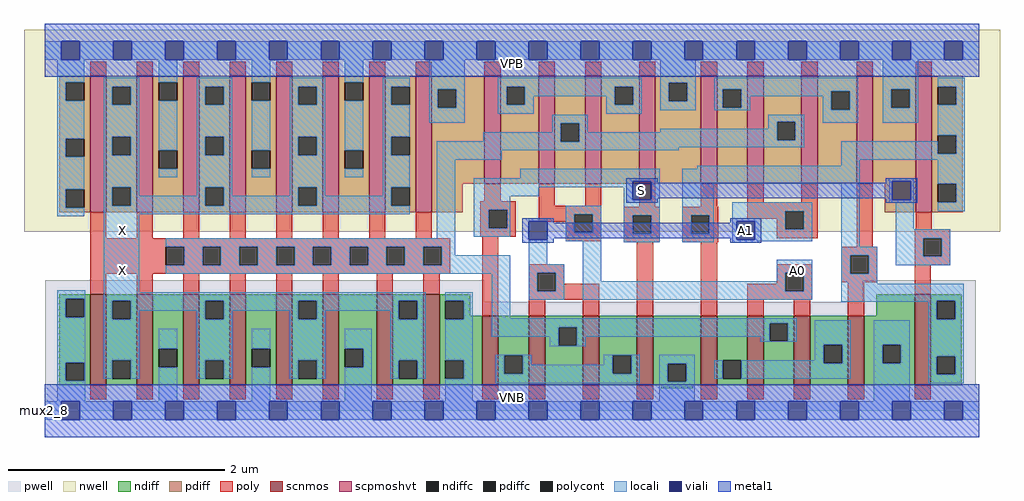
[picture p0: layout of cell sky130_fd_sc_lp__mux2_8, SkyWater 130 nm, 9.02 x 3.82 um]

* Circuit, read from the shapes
.subckt sky130_fd_sc_lp__mux2_8 A0 A1 S VGND VNB VPB VPWR X
XM1 X n1 VGND VNB sky130_fd_pr__nfet_01v8 w=0.84 l=0.15 m=8
XM2 n2 S VGND VNB sky130_fd_pr__nfet_01v8 w=0.64 l=0.15 m=2
XM3 n1 A1 n2 VNB sky130_fd_pr__nfet_01v8 w=0.64 l=0.15 m=2
XM4 n3 n4 VGND VNB sky130_fd_pr__nfet_01v8 w=0.64 l=0.15 m=2
XM5 n1 A0 n3 VNB sky130_fd_pr__nfet_01v8 w=0.64 l=0.15 m=2
XM6 n4 S VGND VNB sky130_fd_pr__nfet_01v8 w=0.84 l=0.15
XM7 X n1 VPWR VPB sky130_fd_pr__pfet_01v8_hvt w=1.26 l=0.15 m=8
XM8 n5 S VPWR VPB sky130_fd_pr__pfet_01v8_hvt w=1 l=0.15 m=2
XM9 n1 A0 n5 VPB sky130_fd_pr__pfet_01v8_hvt w=1 l=0.15 m=2
XM10 n6 n4 VPWR VPB sky130_fd_pr__pfet_01v8_hvt w=1 l=0.15 m=2
XM11 n1 A1 n6 VPB sky130_fd_pr__pfet_01v8_hvt w=1 l=0.15 m=2
XM12 n4 S VPWR VPB sky130_fd_pr__pfet_01v8_hvt w=1.26 l=0.15
.ends

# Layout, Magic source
magic
tech sky130A
magscale 1 2
<< nwell >>
rect -38 331 1766 704
<< pwell >>
rect 1 201 813 241
rect 1511 201 1721 241
rect 1 49 1721 201
rect 0 0 1728 49
<< scnmos >>
rect 84 47 114 215
rect 170 47 200 215
rect 256 47 286 215
rect 342 47 372 215
rect 428 47 458 215
rect 514 47 544 215
rect 614 47 644 215
rect 700 47 730 215
rect 809 47 839 175
rect 895 47 925 175
rect 995 47 1025 175
rect 1095 47 1125 175
rect 1213 47 1243 175
rect 1299 47 1329 175
rect 1385 47 1415 175
rect 1485 47 1515 175
rect 1608 47 1638 215
<< scpmoshvt >>
rect 84 367 114 619
rect 170 367 200 619
rect 256 367 286 619
rect 342 367 372 619
rect 428 367 458 619
rect 514 367 544 619
rect 600 367 630 619
rect 686 367 716 619
rect 813 419 843 619
rect 913 419 943 619
rect 999 419 1029 619
rect 1099 419 1129 619
rect 1213 419 1243 619
rect 1299 419 1329 619
rect 1399 419 1429 619
rect 1501 419 1531 619
rect 1610 367 1640 619
<< ndiff >>
rect 27 207 84 215
rect 27 173 39 207
rect 73 173 84 207
rect 27 89 84 173
rect 27 55 39 89
rect 73 55 84 89
rect 27 47 84 55
rect 114 203 170 215
rect 114 169 125 203
rect 159 169 170 203
rect 114 93 170 169
rect 114 59 125 93
rect 159 59 170 93
rect 114 47 170 59
rect 200 114 256 215
rect 200 80 211 114
rect 245 80 256 114
rect 200 47 256 80
rect 286 203 342 215
rect 286 169 297 203
rect 331 169 342 203
rect 286 93 342 169
rect 286 59 297 93
rect 331 59 342 93
rect 286 47 342 59
rect 372 114 428 215
rect 372 80 383 114
rect 417 80 428 114
rect 372 47 428 80
rect 458 203 514 215
rect 458 169 469 203
rect 503 169 514 203
rect 458 93 514 169
rect 458 59 469 93
rect 503 59 514 93
rect 458 47 514 59
rect 544 114 614 215
rect 544 80 555 114
rect 589 80 614 114
rect 544 47 614 80
rect 644 203 700 215
rect 644 169 655 203
rect 689 169 700 203
rect 644 93 700 169
rect 644 59 655 93
rect 689 59 700 93
rect 644 47 700 59
rect 730 203 787 215
rect 730 169 741 203
rect 775 175 787 203
rect 1537 175 1608 215
rect 775 169 809 175
rect 730 93 809 169
rect 730 59 741 93
rect 775 59 809 93
rect 730 47 809 59
rect 839 102 895 175
rect 839 68 850 102
rect 884 68 895 102
rect 839 47 895 68
rect 925 154 995 175
rect 925 120 950 154
rect 984 120 995 154
rect 925 47 995 120
rect 1025 102 1095 175
rect 1025 68 1050 102
rect 1084 68 1095 102
rect 1025 47 1095 68
rect 1125 87 1213 175
rect 1125 53 1152 87
rect 1186 53 1213 87
rect 1125 47 1213 53
rect 1243 93 1299 175
rect 1243 59 1254 93
rect 1288 59 1299 93
rect 1243 47 1299 59
rect 1329 162 1385 175
rect 1329 128 1340 162
rect 1374 128 1385 162
rect 1329 47 1385 128
rect 1415 122 1485 175
rect 1415 88 1440 122
rect 1474 88 1485 122
rect 1415 47 1485 88
rect 1515 122 1608 175
rect 1515 88 1549 122
rect 1583 88 1608 122
rect 1515 47 1608 88
rect 1638 203 1695 215
rect 1638 169 1649 203
rect 1683 169 1695 203
rect 1638 101 1695 169
rect 1638 67 1649 101
rect 1683 67 1695 101
rect 1638 47 1695 67
rect 1140 41 1198 47
<< pdiff >>
rect 27 607 84 619
rect 27 573 39 607
rect 73 573 84 607
rect 27 503 84 573
rect 27 469 39 503
rect 73 469 84 503
rect 27 409 84 469
rect 27 375 39 409
rect 73 375 84 409
rect 27 367 84 375
rect 114 599 170 619
rect 114 565 125 599
rect 159 565 170 599
rect 114 506 170 565
rect 114 472 125 506
rect 159 472 170 506
rect 114 413 170 472
rect 114 379 125 413
rect 159 379 170 413
rect 114 367 170 379
rect 200 607 256 619
rect 200 573 211 607
rect 245 573 256 607
rect 200 481 256 573
rect 200 447 211 481
rect 245 447 256 481
rect 200 367 256 447
rect 286 599 342 619
rect 286 565 297 599
rect 331 565 342 599
rect 286 506 342 565
rect 286 472 297 506
rect 331 472 342 506
rect 286 413 342 472
rect 286 379 297 413
rect 331 379 342 413
rect 286 367 342 379
rect 372 607 428 619
rect 372 573 383 607
rect 417 573 428 607
rect 372 481 428 573
rect 372 447 383 481
rect 417 447 428 481
rect 372 367 428 447
rect 458 599 514 619
rect 458 565 469 599
rect 503 565 514 599
rect 458 506 514 565
rect 458 472 469 506
rect 503 472 514 506
rect 458 413 514 472
rect 458 379 469 413
rect 503 379 514 413
rect 458 367 514 379
rect 544 607 600 619
rect 544 573 555 607
rect 589 573 600 607
rect 544 481 600 573
rect 544 447 555 481
rect 589 447 600 481
rect 544 367 600 447
rect 630 599 686 619
rect 630 565 641 599
rect 675 565 686 599
rect 630 506 686 565
rect 630 472 641 506
rect 675 472 686 506
rect 630 413 686 472
rect 630 379 641 413
rect 675 379 686 413
rect 630 367 686 379
rect 716 594 813 619
rect 716 560 727 594
rect 761 560 813 594
rect 716 419 813 560
rect 843 599 913 619
rect 843 565 854 599
rect 888 565 913 599
rect 843 419 913 565
rect 943 531 999 619
rect 943 497 954 531
rect 988 497 999 531
rect 943 419 999 497
rect 1029 599 1099 619
rect 1029 565 1054 599
rect 1088 565 1099 599
rect 1029 419 1099 565
rect 1129 606 1213 619
rect 1129 572 1154 606
rect 1188 572 1213 606
rect 1129 419 1213 572
rect 1243 594 1299 619
rect 1243 560 1254 594
rect 1288 560 1299 594
rect 1243 419 1299 560
rect 1329 534 1399 619
rect 1329 500 1354 534
rect 1388 500 1399 534
rect 1329 419 1399 500
rect 1429 590 1501 619
rect 1429 556 1454 590
rect 1488 556 1501 590
rect 1429 419 1501 556
rect 1531 594 1610 619
rect 1531 560 1565 594
rect 1599 560 1610 594
rect 1531 419 1610 560
rect 716 367 773 419
rect 1553 367 1610 419
rect 1640 599 1697 619
rect 1640 565 1651 599
rect 1685 565 1697 599
rect 1640 509 1697 565
rect 1640 475 1651 509
rect 1685 475 1697 509
rect 1640 419 1697 475
rect 1640 385 1651 419
rect 1685 385 1697 419
rect 1640 367 1697 385
<< ndiffc >>
rect 39 173 73 207
rect 39 55 73 89
rect 125 169 159 203
rect 125 59 159 93
rect 211 80 245 114
rect 297 169 331 203
rect 297 59 331 93
rect 383 80 417 114
rect 469 169 503 203
rect 469 59 503 93
rect 555 80 589 114
rect 655 169 689 203
rect 655 59 689 93
rect 741 169 775 203
rect 741 59 775 93
rect 850 68 884 102
rect 950 120 984 154
rect 1050 68 1084 102
rect 1152 53 1186 87
rect 1254 59 1288 93
rect 1340 128 1374 162
rect 1440 88 1474 122
rect 1549 88 1583 122
rect 1649 169 1683 203
rect 1649 67 1683 101
<< pdiffc >>
rect 39 573 73 607
rect 39 469 73 503
rect 39 375 73 409
rect 125 565 159 599
rect 125 472 159 506
rect 125 379 159 413
rect 211 573 245 607
rect 211 447 245 481
rect 297 565 331 599
rect 297 472 331 506
rect 297 379 331 413
rect 383 573 417 607
rect 383 447 417 481
rect 469 565 503 599
rect 469 472 503 506
rect 469 379 503 413
rect 555 573 589 607
rect 555 447 589 481
rect 641 565 675 599
rect 641 472 675 506
rect 641 379 675 413
rect 727 560 761 594
rect 854 565 888 599
rect 954 497 988 531
rect 1054 565 1088 599
rect 1154 572 1188 606
rect 1254 560 1288 594
rect 1354 500 1388 534
rect 1454 556 1488 590
rect 1565 560 1599 594
rect 1651 565 1685 599
rect 1651 475 1685 509
rect 1651 385 1685 419
<< poly >>
rect 84 619 114 645
rect 170 619 200 645
rect 256 619 286 645
rect 342 619 372 645
rect 428 619 458 645
rect 514 619 544 645
rect 600 619 630 645
rect 686 619 716 645
rect 813 619 843 645
rect 913 619 943 645
rect 999 619 1029 645
rect 1099 619 1129 645
rect 1213 619 1243 645
rect 1299 619 1329 645
rect 1399 619 1429 645
rect 1501 619 1531 645
rect 1610 619 1640 645
rect 813 387 843 419
rect 805 371 871 387
rect 84 319 114 367
rect 170 319 200 367
rect 256 319 286 367
rect 342 319 372 367
rect 428 319 458 367
rect 514 319 544 367
rect 600 319 630 367
rect 686 319 716 367
rect 805 337 821 371
rect 855 337 871 371
rect 913 379 943 419
rect 999 379 1029 419
rect 913 363 1029 379
rect 1099 377 1129 419
rect 1213 377 1243 419
rect 1299 385 1329 419
rect 1399 385 1429 419
rect 913 349 979 363
rect 805 321 871 337
rect 963 329 979 349
rect 1013 329 1029 363
rect 84 303 750 319
rect 84 269 224 303
rect 258 269 292 303
rect 326 269 360 303
rect 394 269 428 303
rect 462 269 496 303
rect 530 269 564 303
rect 598 269 632 303
rect 666 269 700 303
rect 734 269 750 303
rect 84 253 750 269
rect 84 215 114 253
rect 170 215 200 253
rect 256 215 286 253
rect 342 215 372 253
rect 428 215 458 253
rect 514 215 544 253
rect 614 215 644 253
rect 700 215 730 253
rect 809 175 839 321
rect 963 313 1029 329
rect 1071 361 1137 377
rect 1071 327 1087 361
rect 1121 327 1137 361
rect 1071 311 1137 327
rect 1179 361 1245 377
rect 1179 327 1195 361
rect 1229 327 1245 361
rect 1299 369 1429 385
rect 1299 355 1369 369
rect 1179 311 1245 327
rect 1353 335 1369 355
rect 1403 335 1429 369
rect 1353 319 1429 335
rect 895 255 961 271
rect 895 221 911 255
rect 945 235 961 255
rect 945 221 1025 235
rect 895 205 1025 221
rect 895 175 925 205
rect 995 175 1025 205
rect 1095 175 1125 311
rect 1213 175 1243 311
rect 1501 303 1531 419
rect 1610 335 1640 367
rect 1608 319 1674 335
rect 1473 287 1539 303
rect 1353 255 1419 271
rect 1353 235 1369 255
rect 1299 221 1369 235
rect 1403 221 1419 255
rect 1473 253 1489 287
rect 1523 253 1539 287
rect 1473 237 1539 253
rect 1608 285 1624 319
rect 1658 285 1674 319
rect 1608 269 1674 285
rect 1299 205 1419 221
rect 1299 175 1329 205
rect 1385 175 1415 205
rect 1485 175 1515 237
rect 1608 215 1638 269
rect 84 21 114 47
rect 170 21 200 47
rect 256 21 286 47
rect 342 21 372 47
rect 428 21 458 47
rect 514 21 544 47
rect 614 21 644 47
rect 700 21 730 47
rect 809 21 839 47
rect 895 21 925 47
rect 995 21 1025 47
rect 1095 21 1125 47
rect 1213 21 1243 47
rect 1299 21 1329 47
rect 1385 21 1415 47
rect 1485 21 1515 47
rect 1608 21 1638 47
<< polycont >>
rect 821 337 855 371
rect 979 329 1013 363
rect 224 269 258 303
rect 292 269 326 303
rect 360 269 394 303
rect 428 269 462 303
rect 496 269 530 303
rect 564 269 598 303
rect 632 269 666 303
rect 700 269 734 303
rect 1087 327 1121 361
rect 1195 327 1229 361
rect 1369 335 1403 369
rect 911 221 945 255
rect 1369 221 1403 255
rect 1489 253 1523 287
rect 1624 285 1658 319
<< locali >>
rect 0 649 31 683
rect 65 649 127 683
rect 161 649 223 683
rect 257 649 319 683
rect 353 649 415 683
rect 449 649 511 683
rect 545 649 607 683
rect 641 649 703 683
rect 737 649 799 683
rect 833 649 895 683
rect 929 649 991 683
rect 1025 649 1087 683
rect 1121 649 1183 683
rect 1217 649 1279 683
rect 1313 649 1375 683
rect 1409 649 1471 683
rect 1505 649 1567 683
rect 1601 649 1663 683
rect 1697 649 1728 683
rect 23 607 73 649
rect 23 573 39 607
rect 23 503 73 573
rect 23 469 39 503
rect 23 409 73 469
rect 23 375 39 409
rect 23 359 73 375
rect 109 599 175 615
rect 109 565 125 599
rect 159 565 175 599
rect 109 506 175 565
rect 109 472 125 506
rect 159 472 175 506
rect 109 413 175 472
rect 211 607 245 649
rect 211 481 245 573
rect 211 431 245 447
rect 281 599 347 615
rect 281 565 297 599
rect 331 565 347 599
rect 281 506 347 565
rect 281 472 297 506
rect 331 472 347 506
rect 109 379 125 413
rect 159 397 175 413
rect 281 413 347 472
rect 383 607 417 649
rect 383 481 417 573
rect 383 431 417 447
rect 453 599 519 615
rect 453 565 469 599
rect 503 565 519 599
rect 453 506 519 565
rect 453 472 469 506
rect 503 472 519 506
rect 281 397 297 413
rect 159 379 297 397
rect 331 397 347 413
rect 453 413 519 472
rect 555 607 589 649
rect 555 481 589 573
rect 555 431 589 447
rect 625 599 675 615
rect 625 565 641 599
rect 625 506 675 565
rect 711 594 777 649
rect 711 560 727 594
rect 761 560 777 594
rect 711 532 777 560
rect 838 599 1104 615
rect 838 565 854 599
rect 888 581 1054 599
rect 888 565 904 581
rect 838 549 904 565
rect 1038 565 1054 581
rect 1088 565 1104 599
rect 1038 549 1104 565
rect 1138 606 1204 649
rect 1138 572 1154 606
rect 1188 572 1204 606
rect 1138 555 1204 572
rect 1238 594 1504 615
rect 1238 560 1254 594
rect 1288 590 1504 594
rect 1288 581 1454 590
rect 1288 560 1304 581
rect 1238 555 1304 560
rect 1438 556 1454 581
rect 1488 556 1504 590
rect 938 531 1004 547
rect 938 515 954 531
rect 625 472 641 506
rect 811 498 954 515
rect 453 397 469 413
rect 331 379 469 397
rect 503 397 519 413
rect 625 413 675 472
rect 625 397 641 413
rect 503 379 641 397
rect 109 363 675 379
rect 725 497 954 498
rect 988 515 1004 531
rect 1338 534 1404 547
rect 1338 521 1354 534
rect 1138 515 1354 521
rect 988 500 1354 515
rect 1388 500 1404 534
rect 1438 532 1504 556
rect 1549 594 1615 649
rect 1549 560 1565 594
rect 1599 560 1615 594
rect 1549 532 1615 560
rect 1651 599 1701 615
rect 1685 565 1701 599
rect 988 497 1404 500
rect 1651 509 1701 565
rect 725 487 1404 497
rect 725 481 1172 487
rect 725 464 845 481
rect 1473 475 1651 498
rect 1685 475 1701 509
rect 1473 464 1701 475
rect 23 207 75 223
rect 23 173 39 207
rect 73 173 75 207
rect 23 89 75 173
rect 23 55 39 89
rect 73 55 75 89
rect 109 219 175 363
rect 725 319 759 464
rect 1473 453 1507 464
rect 1206 447 1507 453
rect 879 430 1137 447
rect 793 424 1137 430
rect 793 413 1087 424
rect 793 396 913 413
rect 793 371 861 396
rect 1071 390 1087 413
rect 1121 390 1137 424
rect 793 337 821 371
rect 855 337 861 371
rect 963 363 1029 379
rect 793 321 861 337
rect 895 350 929 356
rect 224 303 759 319
rect 258 269 292 303
rect 326 269 360 303
rect 394 269 428 303
rect 462 269 496 303
rect 530 269 564 303
rect 598 269 632 303
rect 666 269 700 303
rect 734 287 759 303
rect 734 269 861 287
rect 224 253 861 269
rect 109 203 705 219
rect 109 169 125 203
rect 159 185 297 203
rect 159 169 175 185
rect 109 93 175 169
rect 281 169 297 185
rect 331 185 469 203
rect 331 169 347 185
rect 109 59 125 93
rect 159 59 175 93
rect 211 114 245 151
rect 23 17 75 55
rect 211 17 245 80
rect 281 93 347 169
rect 453 169 469 185
rect 503 185 655 203
rect 503 169 519 185
rect 281 59 297 93
rect 331 59 347 93
rect 383 114 417 151
rect 383 17 417 80
rect 453 93 519 169
rect 639 169 655 185
rect 689 169 705 203
rect 453 59 469 93
rect 503 59 519 93
rect 555 114 605 151
rect 589 80 605 114
rect 555 17 605 80
rect 639 93 705 169
rect 639 59 655 93
rect 689 59 705 93
rect 741 203 791 219
rect 775 169 791 203
rect 741 93 791 169
rect 827 171 861 253
rect 895 271 929 316
rect 963 329 979 363
rect 1013 329 1029 363
rect 963 313 1029 329
rect 895 255 961 271
rect 895 221 911 255
rect 945 221 961 255
rect 895 205 961 221
rect 995 239 1029 313
rect 1071 361 1137 390
rect 1071 327 1087 361
rect 1121 327 1137 361
rect 1071 311 1137 327
rect 1179 419 1507 447
rect 1179 361 1237 419
rect 1179 327 1195 361
rect 1229 327 1237 361
rect 1179 311 1237 327
rect 1271 369 1419 385
rect 1271 350 1369 369
rect 1271 316 1279 350
rect 1313 335 1369 350
rect 1403 335 1419 369
rect 1313 316 1419 335
rect 1271 313 1419 316
rect 1271 310 1319 313
rect 1473 303 1507 419
rect 1561 424 1607 430
rect 1561 390 1567 424
rect 1601 390 1607 424
rect 1561 384 1607 390
rect 1573 335 1607 384
rect 1651 419 1701 464
rect 1685 385 1701 419
rect 1651 369 1701 385
rect 1573 319 1674 335
rect 1473 287 1539 303
rect 1353 255 1419 279
rect 1353 239 1369 255
rect 995 221 1369 239
rect 1403 221 1419 255
rect 995 205 1419 221
rect 1473 253 1489 287
rect 1523 253 1539 287
rect 1573 285 1624 319
rect 1658 285 1674 319
rect 1573 269 1674 285
rect 1473 235 1539 253
rect 1473 203 1699 235
rect 1473 201 1649 203
rect 827 162 1390 171
rect 1633 169 1649 201
rect 1683 169 1699 203
rect 827 154 1340 162
rect 827 137 950 154
rect 934 120 950 137
rect 984 137 1340 154
rect 984 120 1000 137
rect 1324 128 1340 137
rect 1374 128 1390 162
rect 1324 127 1390 128
rect 934 119 1000 120
rect 1424 122 1490 167
rect 775 59 791 93
rect 741 17 791 59
rect 834 102 900 103
rect 834 68 850 102
rect 884 85 900 102
rect 1034 102 1100 103
rect 1034 85 1050 102
rect 884 68 1050 85
rect 1084 68 1100 102
rect 834 51 1100 68
rect 1136 87 1202 103
rect 1424 93 1440 122
rect 1136 53 1152 87
rect 1186 53 1202 87
rect 1238 59 1254 93
rect 1288 88 1440 93
rect 1474 88 1490 122
rect 1288 59 1490 88
rect 1533 122 1599 167
rect 1533 88 1549 122
rect 1583 88 1599 122
rect 1136 17 1202 53
rect 1533 17 1599 88
rect 1633 101 1699 169
rect 1633 67 1649 101
rect 1683 67 1699 101
rect 1633 51 1699 67
rect 0 -17 31 17
rect 65 -17 127 17
rect 161 -17 223 17
rect 257 -17 319 17
rect 353 -17 415 17
rect 449 -17 511 17
rect 545 -17 607 17
rect 641 -17 703 17
rect 737 -17 799 17
rect 833 -17 895 17
rect 929 -17 991 17
rect 1025 -17 1087 17
rect 1121 -17 1183 17
rect 1217 -17 1279 17
rect 1313 -17 1375 17
rect 1409 -17 1471 17
rect 1505 -17 1567 17
rect 1601 -17 1663 17
rect 1697 -17 1728 17
<< viali >>
rect 31 649 65 683
rect 127 649 161 683
rect 223 649 257 683
rect 319 649 353 683
rect 415 649 449 683
rect 511 649 545 683
rect 607 649 641 683
rect 703 649 737 683
rect 799 649 833 683
rect 895 649 929 683
rect 991 649 1025 683
rect 1087 649 1121 683
rect 1183 649 1217 683
rect 1279 649 1313 683
rect 1375 649 1409 683
rect 1471 649 1505 683
rect 1567 649 1601 683
rect 1663 649 1697 683
rect 1087 390 1121 424
rect 895 316 929 350
rect 1279 316 1313 350
rect 1567 390 1601 424
rect 31 -17 65 17
rect 127 -17 161 17
rect 223 -17 257 17
rect 319 -17 353 17
rect 415 -17 449 17
rect 511 -17 545 17
rect 607 -17 641 17
rect 703 -17 737 17
rect 799 -17 833 17
rect 895 -17 929 17
rect 991 -17 1025 17
rect 1087 -17 1121 17
rect 1183 -17 1217 17
rect 1279 -17 1313 17
rect 1375 -17 1409 17
rect 1471 -17 1505 17
rect 1567 -17 1601 17
rect 1663 -17 1697 17
<< metal1 >>
rect 0 683 1728 715
rect 0 649 31 683
rect 65 649 127 683
rect 161 649 223 683
rect 257 649 319 683
rect 353 649 415 683
rect 449 649 511 683
rect 545 649 607 683
rect 641 649 703 683
rect 737 649 799 683
rect 833 649 895 683
rect 929 649 991 683
rect 1025 649 1087 683
rect 1121 649 1183 683
rect 1217 649 1279 683
rect 1313 649 1375 683
rect 1409 649 1471 683
rect 1505 649 1567 683
rect 1601 649 1663 683
rect 1697 649 1728 683
rect 0 617 1728 649
rect 1075 424 1133 430
rect 1075 390 1087 424
rect 1121 421 1133 424
rect 1555 424 1613 430
rect 1555 421 1567 424
rect 1121 393 1567 421
rect 1121 390 1133 393
rect 1075 384 1133 390
rect 1555 390 1567 393
rect 1601 390 1613 424
rect 1555 384 1613 390
rect 883 350 941 356
rect 883 316 895 350
rect 929 347 941 350
rect 1267 350 1325 356
rect 1267 347 1279 350
rect 929 319 1279 347
rect 929 316 941 319
rect 883 310 941 316
rect 1267 316 1279 319
rect 1313 316 1325 350
rect 1267 310 1325 316
rect 0 17 1728 49
rect 0 -17 31 17
rect 65 -17 127 17
rect 161 -17 223 17
rect 257 -17 319 17
rect 353 -17 415 17
rect 449 -17 511 17
rect 545 -17 607 17
rect 641 -17 703 17
rect 737 -17 799 17
rect 833 -17 895 17
rect 929 -17 991 17
rect 1025 -17 1087 17
rect 1121 -17 1183 17
rect 1217 -17 1279 17
rect 1313 -17 1375 17
rect 1409 -17 1471 17
rect 1505 -17 1567 17
rect 1601 -17 1663 17
rect 1697 -17 1728 17
rect 0 -49 1728 -17
<< labels >>
flabel pwell s 0 0 1728 49 0 FreeSans 200 0 0 0 VNB
port 5 nsew ground bidirectional
flabel nwell s 0 617 1728 666 0 FreeSans 200 0 0 0 VPB
port 6 nsew power bidirectional
rlabel comment s 0 0 0 0 4 mux2_8
flabel metal1 s 1087 390 1121 424 0 FreeSans 340 0 0 0 S
port 3 nsew signal input
flabel metal1 s 1279 316 1313 350 0 FreeSans 340 0 0 0 A1
port 2 nsew signal input
flabel metal1 s 0 617 1728 666 0 FreeSans 340 0 0 0 VPWR
port 7 nsew power bidirectional
flabel metal1 s 0 0 1728 49 0 FreeSans 340 0 0 0 VGND
port 4 nsew ground bidirectional
flabel locali s 127 242 161 276 0 FreeSans 340 0 0 0 X
port 8 nsew signal output
flabel locali s 127 316 161 350 0 FreeSans 340 0 0 0 X
port 8 nsew signal output
flabel locali s 1375 242 1409 276 0 FreeSans 340 0 0 0 A0
port 1 nsew signal input
<< properties >>
string LEFsite unit
string LEFclass CORE
string FIXED_BBOX 0 0 1728 666
string GDS_FILE $PDKPATH/libs.ref/sky130_fd_sc_lp/gds/sky130_fd_sc_lp.gds
string LEFsymmetry X Y R90
string GDS_END 1732612
string GDS_START 1718754
<< end >>
